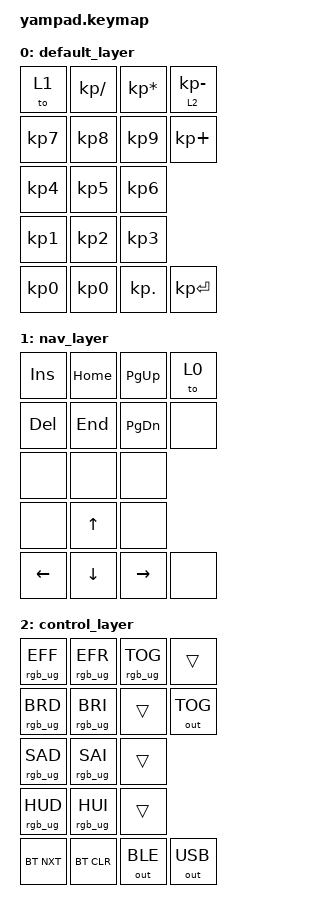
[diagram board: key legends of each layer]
/*
 * Copyright (c) 2020 The ZMK Contributors
 *
 * SPDX-License-Identifier: MIT
 */

#include <behaviors.dtsi>
#include <dt-bindings/zmk/bt.h>
#include <dt-bindings/zmk/keys.h>
#include <dt-bindings/zmk/rgb.h>
#include <dt-bindings/zmk/outputs.h>

&lt {
    quick_tap_ms = <200>;
};

/ {
    keymap {
        compatible = "zmk,keymap";

        default_layer {
            bindings = <
                &to 1      &kp KP_DIVIDE &kp KP_MULTIPLY &lt 2 KP_MINUS 
                &kp KP_N7  &kp KP_N8     &kp KP_N9       &kp KP_PLUS
                &kp KP_N4  &kp KP_N5     &kp KP_N6
                &kp KP_N1  &kp KP_N2     &kp KP_N3
                &kp KP_N0  &kp KP_N0     &kp KP_DOT      &kp KP_ENTER
            >;

            
        };

        nav_layer {
            bindings = <
                &kp INS  &kp HOME &kp PG_UP &to 0
                &kp DEL  &kp END  &kp PG_DN &none
                &none    &none              &none
                &none    &kp UP   &none
                &kp LEFT &kp DOWN &kp RIGHT &none
            >;
        };


        control_layer {
             bindings = <
                &rgb_ug RGB_EFF &rgb_ug RGB_EFR   &rgb_ug RGB_TOG &trans
                &rgb_ug RGB_BRD &rgb_ug RGB_BRI   &trans          &out OUT_TOG
                &rgb_ug RGB_SAD &rgb_ug RGB_SAI   &trans
                &rgb_ug RGB_HUD &rgb_ug RGB_HUI   &trans
                &bt BT_NXT      &bt BT_CLR        &out OUT_BLE    &out OUT_USB 
             >;
         };
    };
};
